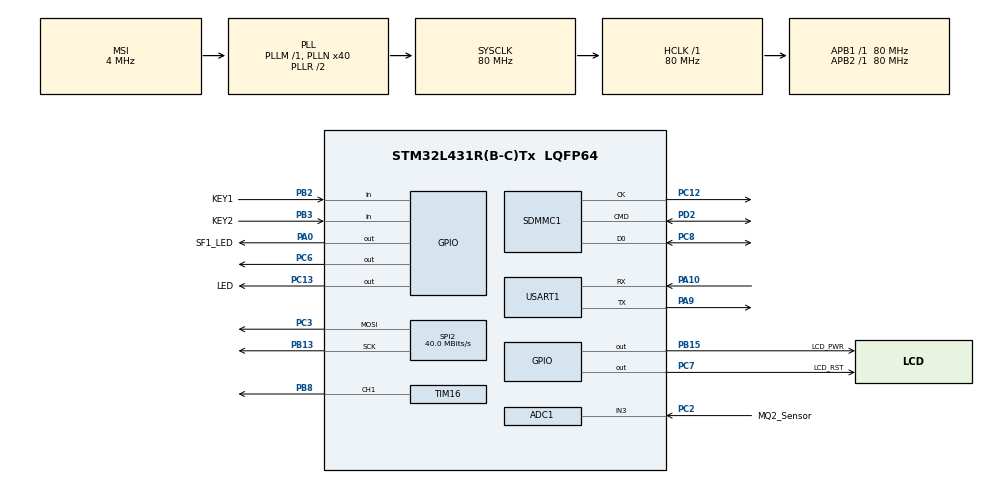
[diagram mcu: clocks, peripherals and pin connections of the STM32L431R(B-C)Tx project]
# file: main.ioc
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ADC1.Channel-0\#ChannelRegularConversion=ADC_CHANNEL_3
ADC1.NbrOfConversionFlag=1
ADC1.OffsetNumber-0\#ChannelRegularConversion=ADC_OFFSET_NONE
ADC1.Rank-0\#ChannelRegularConversion=1
ADC1.SamplingTime-0\#ChannelRegularConversion=ADC_SAMPLETIME_2CYCLES_5
ADC1.master=1
FATFS._CODE_PAGE=936
FATFS._USE_CHMOD=0
FATFS._USE_EXPAND=0
FATFS._USE_FIND=0
FATFS._USE_FORWARD=0
FATFS._USE_LABEL=0
FATFS._USE_LFN=2
Mcu.Family=STM32L4
Mcu.Name=STM32L431R(B-C)Tx
Mcu.Package=LQFP64
NVIC.PriorityGroup=NVIC_PRIORITYGROUP_4
NVIC.SDMMC1_IRQn=true\:0\:0\:false\:false\:true\:true\:true
PA0.GPIO_Label=SF1_LED
PA0.GPIO_Speed=GPIO_SPEED_FREQ_VERY_HIGH
PA0.Signal=GPIO_Output
PA10.Mode=Asynchronous
PA10.Signal=USART1_RX
PA13\ (JTMS-SWDIO).Mode=Serial_Wire
PA13\ (JTMS-SWDIO).Signal=SYS_JTMS-SWDIO
PA14\ (JTCK-SWCLK).Mode=Serial_Wire
PA14\ (JTCK-SWCLK).Signal=SYS_JTCK-SWCLK
PA9.Mode=Asynchronous
PA9.Signal=USART1_TX
PB13.Mode=TX_Only_Simplex_Unidirect_Master
PB13.Signal=SPI2_SCK
PB15.GPIO_Label=LCD_PWR
PB15.GPIO_Speed=GPIO_SPEED_FREQ_VERY_HIGH
PB15.Signal=GPIO_Output
PB2.GPIO_Label=KEY1
PB2.GPIO_PuPd=GPIO_PULLUP
PB2.Signal=GPIO_Input
PB3\ (JTDO-TRACESWO).GPIO_Label=KEY2
PB3\ (JTDO-TRACESWO).GPIO_PuPd=GPIO_PULLUP
PB3\ (JTDO-TRACESWO).Signal=GPIO_Input
PB8.Signal=S_TIM16_CH1
PC12.Mode=SD_1_bit
PC12.Signal=SDMMC1_CK
PC13.GPIO_Label=LED
PC13.Signal=GPIO_Output
PC2.GPIO_Label=MQ2_Sensor
PC2.Signal=ADCx_IN3
PC3.Mode=TX_Only_Simplex_Unidirect_Master
PC3.Signal=SPI2_MOSI
PC6.Signal=GPIO_Output
PC7.GPIO_Label=LCD_RST
PC7.GPIO_Speed=GPIO_SPEED_FREQ_VERY_HIGH
PC7.Signal=GPIO_Output
PC8.Mode=SD_1_bit
PC8.Signal=SDMMC1_D0
PD2.Mode=SD_1_bit
PD2.Signal=SDMMC1_CMD
PH0-OSC_IN\ (PH0).Mode=HSE-External-Oscillator
PH0-OSC_IN\ (PH0).Signal=RCC_OSC_IN
PH1-OSC_OUT\ (PH1).Mode=HSE-External-Oscillator
PH1-OSC_OUT\ (PH1).Signal=RCC_OSC_OUT
ProjectManager.HeapSize=0x200
ProjectManager.StackSize=0x1200
ProjectManager.TargetToolchain=MDK-ARM V5
RCC.ADCFreq_Value=32000000
RCC.AHBFreq_Value=80000000
RCC.APB1Freq_Value=80000000
RCC.APB1TimFreq_Value=80000000
RCC.APB2Freq_Value=80000000
RCC.APB2TimFreq_Value=80000000
RCC.CortexFreq_Value=80000000
RCC.HCLKFreq_Value=80000000
RCC.HSE_VALUE=8000000
RCC.HSI48_VALUE=48000000
RCC.HSI_VALUE=16000000
RCC.LSE_VALUE=32768
RCC.MSI_VALUE=4000000
RCC.PLLN=40
RCC.PLLSAI1N=16
RCC.SYSCLKFreq_VALUE=80000000
RCC.SYSCLKSource=RCC_SYSCLKSOURCE_PLLCLK
RCC.VCOOutputFreq_Value=160000000
SDMMC1.ClockDiv=4
SH.ADCx_IN3.0=ADC1_IN3,IN3-Single-Ended
SH.S_TIM16_CH1.0=TIM16_CH1,PWM Generation1 CH1
SPI2.CLKPhase=SPI_PHASE_2EDGE
SPI2.CLKPolarity=SPI_POLARITY_HIGH
SPI2.CalculateBaudRate=40.0 MBits/s
SPI2.DataSize=SPI_DATASIZE_8BIT
SPI2.Direction=SPI_DIRECTION_2LINES
SPI2.Mode=SPI_MODE_MASTER
SPI2.VirtualType=VM_MASTER
TIM16.Channel=TIM_CHANNEL_1
TIM16.Period=999
TIM16.Prescaler=79
TIM16.Pulse=499
USART1.VirtualMode-Asynchronous=VM_ASYNC
VP_FATFS_VS_SDIO.Mode=SDIO
VP_RTC_VS_RTC_Activate.Mode=RTC_Enabled
VP_TIM16_VS_ClockSourceINT.Mode=Enable_Timer
board=custom

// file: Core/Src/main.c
/* USER CODE BEGIN Header */
/**
  ******************************************************************************
  * @file           : main.c
  * @brief          : Main program body
  ******************************************************************************
  * @attention
  *
  * <h2><center>&copy; Copyright (c) 2020 STMicroelectronics.
  * All rights reserved.</center></h2>
  *
  * This software component is licensed by ST under BSD 3-Clause license,
  * the "License"; You may not use this file except in compliance with the
  * License. You may obtain a copy of the License at:
  *                        opensource.org/licenses/BSD-3-Clause
  *
  ******************************************************************************
  */
/* USER CODE END Header */
#include "main.h"
#include "adc.h"
#include "fatfs.h"
#include "rtc.h"
#include "sdmmc.h"
#include "spi.h"
#include "tim.h"
#include "usart.h"
#include "gpio.h"

/* USER CODE BEGIN Includes */
#include "bsp_bmp.h"
/* USER CODE END Includes */

/* USER CODE BEGIN PD */
/*定时器设置为100ms刷新一次*/
#define TIMER_TIMEOUT 100
/* USER CODE END PD */

/* USER CODE BEGIN PV */
Timer DataTime_Timer ;
Timer Key_Timer ;
Timer Test_Timer ;
/* USER CODE END PV */

void SystemClock_Config(void);
/* USER CODE BEGIN PFP */
void DataTime_Timer_CallBack(void);
/* USER CODE END PFP */

/* USER CODE BEGIN 0 */
/*按键扫描*/
void Key_CallBack()
{
    __IO uint8_t KeyCode = 255;
    //获取键值
    GetKey(&KeyCode);

    if(255 != KeyCode)
    {
        Menu_Select_Item(Flow_Cursor.flow_cursor, KeyCode);
        KeyCode = 255 ;
    }
}

/*RTC实时时钟显示*/
void DataTime_Timer_CallBack(void)
{
    Get_Date_Time();
    sprintf(DateTime_Handler_Info.DisPlay_DateBuf, "%04d-%02d-%02d %02d:%02d:%02d", \
            DateTime_Handler_Info.year, DateTime_Handler_Info.month, DateTime_Handler_Info.day, \
            DateTime_Handler_Info.hour, DateTime_Handler_Info.minute, DateTime_Handler_Info.sec
           );
    LCD_ShowCharStr(0, 5, 240, DateTime_Handler_Info.DisPlay_DateBuf, BLACK, WHITE, 24);
}

/*测试回调*/
void Test_CallBack(void)
{
    /*如果当前在测试页面 && 开始检测标志为1，则进入传感器数据处理*/
    if(Flow_Cursor.flow_cursor == TEST_PAGE && Sensor_Flow_Cursor.Start_Detect == 1)
        Sensor_Handler(Sensor_Flow_Cursor.Detect_Step,	\
                       mq2_sensor_interface.get_smoke_value(&mq2_sensor_interface) );
}

FATFS fs;													/* FatFs文件系统对象 */
FRESULT f_res;                    /* 文件操作结果 */
#define START_LOGO	"0:/UI/start_logo/start_logo.bmp"
/* USER CODE END 0 */

int main(void)
{

    /* MCU Configuration--------------------------------------------------------*/

    /* Reset of all peripherals, Initializes the Flash interface and the Systick. */
    HAL_Init();

    /* Configure the system clock */
    SystemClock_Config();

    /* Initialize all configured peripherals */
    MX_GPIO_Init();
    MX_SPI2_Init();
    MX_USART1_UART_Init();
    MX_RTC_Init();
    MX_ADC1_Init();
    MX_TIM16_Init();
    MX_SDMMC1_SD_Init();
    MX_FATFS_Init();
    /* USER CODE BEGIN 2 */
    PowerOn();
    printf("小熊派气体传感器系统\n");
    LCD_Init();
    //在串行FLASH挂载文件系统，文件系统挂载时会对串行FLASH初始化
    f_res = f_mount(&fs, (TCHAR const*)SDPath, 1);

    if(f_res == FR_OK)
        printf("》SD卡文件系统挂载成功\n");

    Lcd_show_bmp(0, 0, START_LOGO);
    LCD_DisplayOn();
    HAL_Delay(3000);
    Sensor_Register(&mq2_sensor_interface);
    /*注册并启动时钟显示定时器  1000ms一次*/
    timer_init(&DataTime_Timer, DataTime_Timer_CallBack, TIMER_TIMEOUT, TIMER_TIMEOUT);
    timer_start(&DataTime_Timer);
    /*按键扫描*/
    timer_init(&Key_Timer, Key_CallBack, 1, 1);
    timer_start(&Key_Timer);
    /*100ms检测一次烟感值*/
    timer_init(&Test_Timer, Test_CallBack, 100, 100);
    timer_start(&Test_Timer);
    LCD_Clear(BLACK);
    Menu_Init();
    //关指示灯
    HAL_GPIO_WritePin(GPIOC, LED_Pin, GPIO_PIN_RESET);
    /* USER CODE END 2 */

    /* Infinite loop */
    while (1)
    {

        /* USER CODE BEGIN 3 */
        timer_loop();
    }

    /* USER CODE END 3 */
}

void SystemClock_Config(void)
{
    RCC_OscInitTypeDef RCC_OscInitStruct = {0};
    RCC_ClkInitTypeDef RCC_ClkInitStruct = {0};
    RCC_PeriphCLKInitTypeDef PeriphClkInit = {0};

    /** Initializes the RCC Oscillators according to the specified parameters
    * in the RCC_OscInitTypeDef structure.
    */
    RCC_OscInitStruct.OscillatorType = RCC_OSCILLATORTYPE_LSI | RCC_OSCILLATORTYPE_MSI;
    RCC_OscInitStruct.LSIState = RCC_LSI_ON;
    RCC_OscInitStruct.MSIState = RCC_MSI_ON;
    RCC_OscInitStruct.MSICalibrationValue = 0;
    RCC_OscInitStruct.MSIClockRange = RCC_MSIRANGE_6;
    RCC_OscInitStruct.PLL.PLLState = RCC_PLL_ON;
    RCC_OscInitStruct.PLL.PLLSource = RCC_PLLSOURCE_MSI;
    RCC_OscInitStruct.PLL.PLLM = 1;
    RCC_OscInitStruct.PLL.PLLN = 40;
    RCC_OscInitStruct.PLL.PLLP = RCC_PLLP_DIV7;
    RCC_OscInitStruct.PLL.PLLQ = RCC_PLLQ_DIV2;
    RCC_OscInitStruct.PLL.PLLR = RCC_PLLR_DIV2;

    if (HAL_RCC_OscConfig(&RCC_OscInitStruct) != HAL_OK)
    {
        Error_Handler();
    }

    /** Initializes the CPU, AHB and APB buses clocks
    */
    RCC_ClkInitStruct.ClockType = RCC_CLOCKTYPE_HCLK | RCC_CLOCKTYPE_SYSCLK
                                  | RCC_CLOCKTYPE_PCLK1 | RCC_CLOCKTYPE_PCLK2;
    RCC_ClkInitStruct.SYSCLKSource = RCC_SYSCLKSOURCE_PLLCLK;
    RCC_ClkInitStruct.AHBCLKDivider = RCC_SYSCLK_DIV1;
    RCC_ClkInitStruct.APB1CLKDivider = RCC_HCLK_DIV1;
    RCC_ClkInitStruct.APB2CLKDivider = RCC_HCLK_DIV1;

    if (HAL_RCC_ClockConfig(&RCC_ClkInitStruct, FLASH_LATENCY_4) != HAL_OK)
    {
        Error_Handler();
    }

    PeriphClkInit.PeriphClockSelection = RCC_PERIPHCLK_RTC | RCC_PERIPHCLK_USART1
                                         | RCC_PERIPHCLK_SDMMC1 | RCC_PERIPHCLK_ADC;
    PeriphClkInit.Usart1ClockSelection = RCC_USART1CLKSOURCE_PCLK2;
    PeriphClkInit.AdcClockSelection = RCC_ADCCLKSOURCE_PLLSAI1;
    PeriphClkInit.RTCClockSelection = RCC_RTCCLKSOURCE_LSI;
    PeriphClkInit.Sdmmc1ClockSelection = RCC_SDMMC1CLKSOURCE_PLLSAI1;
    PeriphClkInit.PLLSAI1.PLLSAI1Source = RCC_PLLSOURCE_MSI;
    PeriphClkInit.PLLSAI1.PLLSAI1M = 1;
    PeriphClkInit.PLLSAI1.PLLSAI1N = 16;
    PeriphClkInit.PLLSAI1.PLLSAI1P = RCC_PLLP_DIV7;
    PeriphClkInit.PLLSAI1.PLLSAI1Q = RCC_PLLQ_DIV2;
    PeriphClkInit.PLLSAI1.PLLSAI1R = RCC_PLLR_DIV2;
    PeriphClkInit.PLLSAI1.PLLSAI1ClockOut = RCC_PLLSAI1_48M2CLK | RCC_PLLSAI1_ADC1CLK;

    if (HAL_RCCEx_PeriphCLKConfig(&PeriphClkInit) != HAL_OK)
    {
        Error_Handler();
    }

    /** Configure the main internal regulator output voltage
    */
    if (HAL_PWREx_ControlVoltageScaling(PWR_REGULATOR_VOLTAGE_SCALE1) != HAL_OK)
    {
        Error_Handler();
    }
}

void Error_Handler(void)
{
}

/************************ (C) COPYRIGHT STMicroelectronics *****END OF FILE****/
